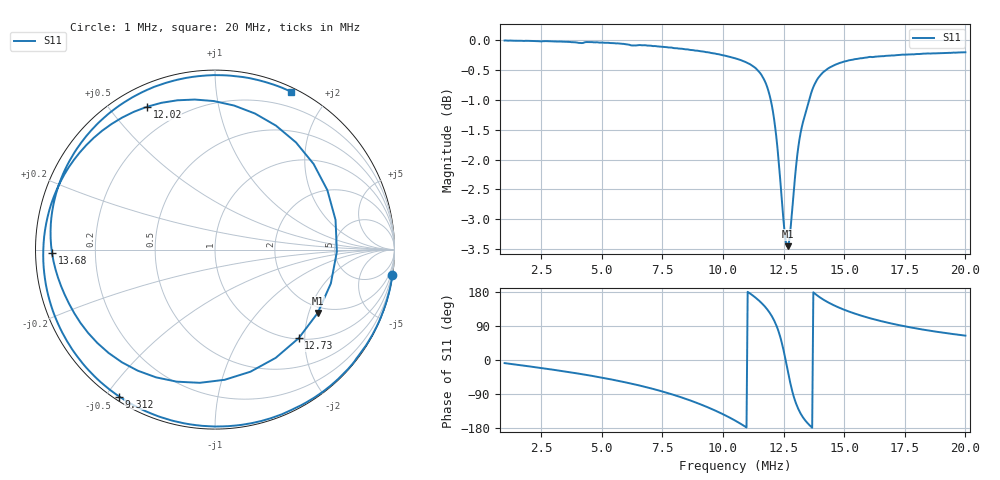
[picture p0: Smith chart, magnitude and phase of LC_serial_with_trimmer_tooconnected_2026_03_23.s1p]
# HZ S RI R 50
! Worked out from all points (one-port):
!   401 points, 1 MHz to 20 MHz, reference 50 ohm
!   lowest |S11| = -3.4 dB at 12.69 MHz (marker M1), VSWR 5.10, Z = 89.1 - j115 ohm
!   |S11| at or under -10 dB: nowhere
!   S11 on the Smith chart (normalised r, x): 1 MHz: 0, -14; 9.312 MHz: 0.02, -0.54; 12.02 MHz: 0.09, +0.63; 12.73 MHz: 1.02, -1.87; 13.68 MHz: 0.05, -0.01; 20 MHz: 0.04, +1.59
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1000000  0.9888 -0.143
3375000  0.87 -0.4867
5750000  0.5574 -0.8219
6937500  0.2852 -0.9473
8125000  -0.0884 -0.9803
9312500  -0.5334 -0.8185
9930000  -0.7527 -0.6147
1.05e7  -0.9051 -0.3362
1.0975e7  -0.9571 -0.0322
1.14025e7  -0.8966 0.2984
1.1735e7  -0.7164 0.5827
1.202e7  -0.3797 0.7956
1.221e7  -0.00612 0.8276
1.23525e7  0.3398 0.6905
1.24475e7  0.5496 0.4768
1.25425e7  0.6716 0.1653
1.2685e7  0.5723 -0.3529
1.27325e7  0.4666 -0.4932
1.2875e7  0.0538 -0.7254
1.30175e7  -0.3286 -0.7117
1.32075e7  -0.6552 -0.5205
1.33975e7  -0.813 -0.3018
1.36825e7  -0.9079 -0.0208
1.4395e7  -0.823 0.4712
1.525e7  -0.5744 0.7718
1.6295e7  -0.2721 0.9295
1.7625e7  0.0444 0.9715
2e7  0.4236 0.8801
